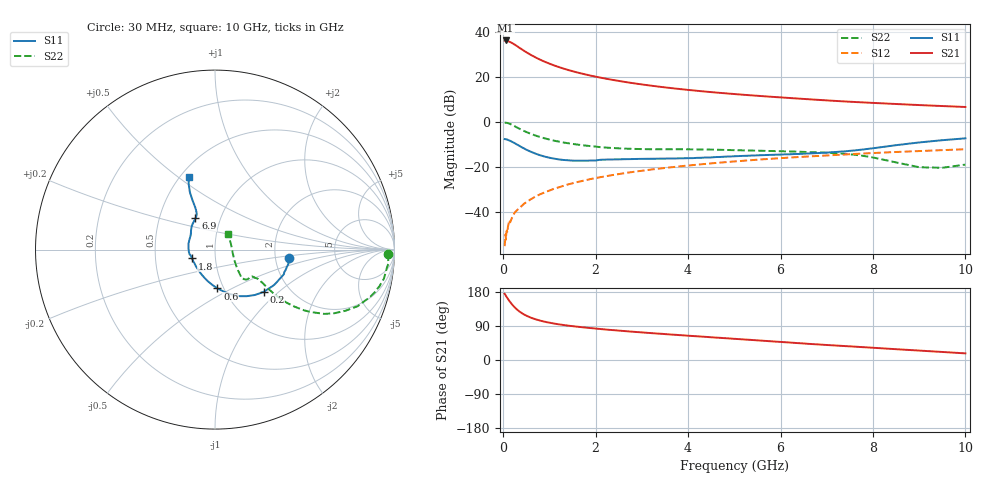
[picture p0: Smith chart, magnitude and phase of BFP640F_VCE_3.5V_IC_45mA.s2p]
! Infineon Technologies  Discrete & RF Semiconductors
! BFP640F
! VCE =  3.5 V,  IC =  45 mA
! Common Emitter S-Parameters:  Apr 2013
# GHz  S  MA  R  50
!  f  S11  S21  S12  S22
! GHz  MAG  ANG  MAG  ANG  MAG  ANG  MAG  ANG
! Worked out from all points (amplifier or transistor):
!   99 points, 30 MHz to 10 GHz, reference 50 ohm
!   highest |S21| = 36.4 dB at 50 MHz (marker M1)
!   |S21| within 3 dB of that: start of sweep to 331.2 MHz
!   unconditionally stable (mu >= 1): 1.508 GHz to end of sweep
!   at 350 MHz: K = 0.59, MSG = 35.7 dB, |S12| = -38.3 dB
!   at 3.5 GHz: K = 1.06, MAG = 16.5 dB, |S12| = -20.5 dB
!   at 10 GHz: K = 1.04, MAG = 8.2 dB, |S12| = -12.1 dB
!   S11 on the Smith chart (normalised r, x): 30 MHz: 2.39, -0.28; 200 MHz: 1.48, -0.80; 600 MHz: 0.93, -0.42; 1.8 GHz: 0.77, -0.08; 6.9 GHz: 0.76, +0.28; 10 GHz: 0.55, +0.55
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0.03  0.4169 -6.6  65.61 174.8  0.0017 77.8  0.9625 -1.4
0.05  0.4165 -11.1  66.08 171.1  0.0031 92.5  0.9701 -4.4
0.08  0.4064 -17.9  65.24 165.2  0.0038 77.8  0.957 -8.7
0.12  0.3917 -26.4  62.96 158.0  0.0057 80.6  0.9294 -13.7
0.2  0.3588 -41.1  57.21 145.3  0.0078 79.1  0.8557 -21.6
0.25  0.3367 -48.7  53.18 138.7  0.0096 78.0  0.8031 -25.1
0.3  0.3142 -55.7  49.21 133.0  0.0108 77.3  0.7546 -28.0
0.4  0.2738 -67.5  41.99 123.8  0.0134 76.4  0.6669 -31.9
0.5  0.2414 -77.5  36.09 117.0  0.0163 75.5  0.5992 -34.3
0.6  0.2168 -86.4  31.39 111.6  0.019 76.1  0.5436 -35.7
0.8  0.1813 -102.3  24.58 103.9  0.0245 74.9  0.4624 -36.8
1  0.1599 -116.4  20.06 98.4  0.0296 75.1  0.4065 -36.8
1.3  0.1426 -135.2  15.63 92.4  0.0376 74.0  0.3501 -35.8
1.7  0.1374 -155.0  12.05 86.6  0.0482 72.7  0.305 -34.5
1.8  0.1374 -159.0  11.39 85.3  0.051 72.1  0.2972 -34.5
2.5  0.1469 179.7  8.259 77.6  0.069 69.0  0.259 -35.6
3.4  0.1527 160.5  6.105 69.3  0.0919 64.3  0.2464 -39.2
5.1  0.1741 139.8  4.134 55.1  0.1344 55.2  0.2346 -45.0
6.7  0.2007 124.2  3.179 41.9  0.1726 45.9  0.2123 -46.6
6.9  0.2059 122.0  3.086 40.4  0.1772 44.7  0.2087 -46.2
8.5  0.3046 114.5  2.526 28.5  0.2147 35.5  0.1256 -29.8
10  0.4328 109.8  2.167 17.5  0.2472 26.7  0.1123 51.5
